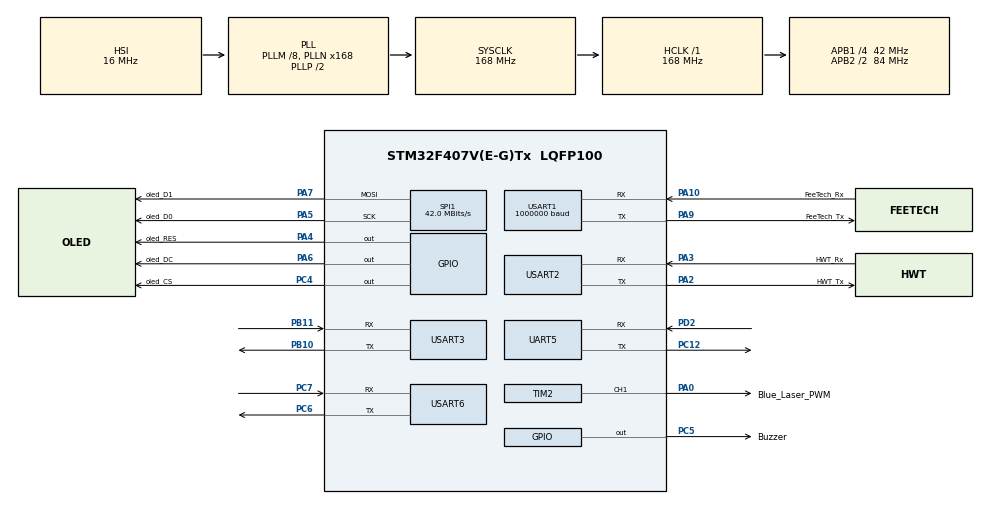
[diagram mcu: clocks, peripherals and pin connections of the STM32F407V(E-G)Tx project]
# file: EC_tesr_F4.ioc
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Mcu.Family=STM32F4
Mcu.Name=STM32F407V(E-G)Tx
Mcu.Package=LQFP100
NVIC.PriorityGroup=NVIC_PRIORITYGROUP_4
NVIC.TIM2_IRQn=true\:0\:0\:false\:false\:true\:true\:true\:true
NVIC.TIM3_IRQn=true\:0\:0\:false\:false\:true\:true\:true\:true
NVIC.USART1_IRQn=true\:0\:0\:false\:false\:true\:true\:true\:true
NVIC.USART2_IRQn=true\:0\:0\:false\:false\:true\:true\:true\:true
NVIC.USART3_IRQn=true\:0\:0\:false\:false\:true\:true\:true\:true
PA0-WKUP.GPIO_Label=Blue_Laser_PWM
PA0-WKUP.Signal=S_TIM2_CH1_ETR
PA10.GPIO_Label=FeeTech_Rx
PA10.Mode=Asynchronous
PA10.Signal=USART1_RX
PA13.Mode=Serial_Wire
PA13.Signal=SYS_JTMS-SWDIO
PA14.Mode=Serial_Wire
PA14.Signal=SYS_JTCK-SWCLK
PA2.GPIO_Label=HWT_Tx
PA2.Mode=Asynchronous
PA2.Signal=USART2_TX
PA3.GPIO_Label=HWT_Rx
PA3.Mode=Asynchronous
PA3.Signal=USART2_RX
PA4.GPIO_Label=oled_RES
PA4.GPIO_PuPd=GPIO_PULLDOWN
PA4.GPIO_Speed=GPIO_SPEED_FREQ_HIGH
PA4.Signal=GPIO_Output
PA5.GPIO_Label=oled_D0
PA5.Mode=TX_Only_Simplex_Unidirect_Master
PA5.Signal=SPI1_SCK
PA6.GPIO_Label=oled_DC
PA6.GPIO_PuPd=GPIO_PULLDOWN
PA6.GPIO_Speed=GPIO_SPEED_FREQ_HIGH
PA6.Signal=GPIO_Output
PA7.GPIO_Label=oled_D1
PA7.Mode=TX_Only_Simplex_Unidirect_Master
PA7.Signal=SPI1_MOSI
PA9.GPIO_Label=FeeTech_Tx
PA9.Mode=Asynchronous
PA9.Signal=USART1_TX
PB10.Mode=Asynchronous
PB10.Signal=USART3_TX
PB11.Mode=Asynchronous
PB11.Signal=USART3_RX
PC12.Mode=Asynchronous
PC12.Signal=UART5_TX
PC4.GPIO_Label=oled_CS
PC4.GPIO_PuPd=GPIO_PULLDOWN
PC4.GPIO_Speed=GPIO_SPEED_FREQ_HIGH
PC4.Signal=GPIO_Output
PC5.GPIO_Label=Buzzer
PC5.GPIO_PuPd=GPIO_PULLUP
PC5.Signal=GPIO_Output
PC6.Mode=Asynchronous
PC6.Signal=USART6_TX
PC7.Mode=Asynchronous
PC7.Signal=USART6_RX
PD2.Mode=Asynchronous
PD2.Signal=UART5_RX
PH0-OSC_IN.Mode=HSE-External-Oscillator
PH0-OSC_IN.Signal=RCC_OSC_IN
PH1-OSC_OUT.Mode=HSE-External-Oscillator
PH1-OSC_OUT.Signal=RCC_OSC_OUT
ProjectManager.HeapSize=0x200
ProjectManager.StackSize=0x400
ProjectManager.TargetToolchain=Makefile
RCC.48MHZClocksFreq_Value=84000000
RCC.AHBFreq_Value=168000000
RCC.APB1CLKDivider=RCC_HCLK_DIV4
RCC.APB1Freq_Value=42000000
RCC.APB1TimFreq_Value=84000000
RCC.APB2CLKDivider=RCC_HCLK_DIV2
RCC.APB2Freq_Value=84000000
RCC.APB2TimFreq_Value=168000000
RCC.CortexFreq_Value=168000000
RCC.HCLKFreq_Value=168000000
RCC.HSE_VALUE=25000000
RCC.HSI_VALUE=16000000
RCC.LSE_VALUE=32768
RCC.PLLM=8
RCC.PLLN=168
RCC.SYSCLKFreq_VALUE=168000000
RCC.SYSCLKSource=RCC_SYSCLKSOURCE_PLLCLK
RCC.VCOOutputFreq_Value=336000000
SH.S_TIM2_CH1_ETR.0=TIM2_CH1,PWM Generation1 CH1
SPI1.CalculateBaudRate=42.0 MBits/s
SPI1.Direction=SPI_DIRECTION_2LINES
SPI1.Mode=SPI_MODE_MASTER
SPI1.VirtualType=VM_MASTER
TIM1.Period=0
TIM1.Prescaler=168-1
TIM2.Channel-PWM\ Generation1\ CH1=TIM_CHANNEL_1
TIM2.Period=999
TIM2.Prescaler=167
TIM3.Period=10000-1
TIM3.Prescaler=167
UART5.VirtualMode=Asynchronous
USART1.BaudRate=1000000
USART1.VirtualMode=VM_ASYNC
USART2.VirtualMode=VM_ASYNC
USART3.VirtualMode=VM_ASYNC
USART6.VirtualMode=VM_ASYNC
VP_TIM1_VS_ClockSourceINT.Mode=Internal
VP_TIM2_VS_ClockSourceINT.Mode=Internal
VP_TIM3_VS_ClockSourceINT.Mode=Internal
board=custom

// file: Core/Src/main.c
/* USER CODE BEGIN Header */
/**
 ******************************************************************************
 * @file           : main.c
 * @brief          : Main program body
 ******************************************************************************
 * @attention
 *
 * Copyright (c) 2025 STMicroelectronics.
 * All rights reserved.
 *
 * This software is licensed under terms that can be found in the LICENSE file
 * in the root directory of this software component.
 * If no LICENSE file comes with this software, it is provided AS-IS.
 *
 ******************************************************************************
 */
/* USER CODE END Header */
#include "main.h"
#include "spi.h"
#include "tim.h"
#include "usart.h"
#include "gpio.h"

/* USER CODE BEGIN Includes */
// #include "HWT101CT_sdk.h"
#include "io_retargetToUart.h"
#include "HWT101CT_sdk.h"
#include "my_uart.h"
#include "wtr_calculate.h"

#include "SCServo.h"
#include "HWT_user.h"
#include "stdio.h"
#include "stdlib.h"
/* USER CODE END Includes */

/* USER CODE BEGIN PD */
#define PITCH 1
#define YAW   2
/* USER CODE END PD */

void SystemClock_Config(void);

/* USER CODE BEGIN 0 */
int16_t spex;
int16_t spey;
uint16_t initial_angle_yaw;
uint16_t initial_angle_pitch;
PID_t pid_x, pid_y;
YawKalman yaw_filter;
/* USER CODE END 0 */

int main(void)
{

  /* MCU Configuration--------------------------------------------------------*/

  /* Reset of all peripherals, Initializes the Flash interface and the Systick. */
  HAL_Init();

  /* Configure the system clock */
  SystemClock_Config();

  /* Initialize all configured peripherals */
  MX_GPIO_Init();
  MX_SPI1_Init();
  MX_TIM1_Init();
  MX_TIM2_Init();
  MX_USART1_UART_Init();
  MX_USART2_UART_Init();
  MX_USART6_UART_Init();
  MX_USART3_UART_Init();
  MX_TIM3_Init();
  MX_UART5_Init();
  /* USER CODE BEGIN 2 */

    //SPI_PIN_Init();
    //OLED_Init();
  __HAL_UART_ENABLE_IT(&huart2, UART_IT_RXNE);
  HAL_UART_Receive_IT(&huart2, &s, 1);

  HW101_Init();
  HAL_UART_Receive_IT(&huart3, rx_buffer, sizeof(rx_buffer));
  HAL_TIM_Base_Start_IT(&htim2);
  HAL_TIM_Base_Start_IT(&htim3);
  HAL_TIM_PWM_Start(&htim2, TIM_CHANNEL_1);
  WheelMode(PITCH, 0);             // 模弝0：佝置模�???????? 模弝1：杒速； 模弝2：pwm调�?�；模弝3：步�????????
  WheelMode(YAW, 0);               // 模弝0：佝置模�???????? 模弝1：杒速； 模弝2：pwm调�?�；模弝3：步�????????
  WriteSpe(PITCH, 0, 0);           // pitch
  WriteSpe(YAW, 0, 0);             // yaw
  pid_init(&pid_x, 5.0, 1.0, 0.3); // yaw - 增加响应速度
  pid_init(&pid_y, 2, 0.0, 0.0);   // pitch
  yaw_kalman_init(&yaw_filter, 135.0f, 0.1f, 10.0f); // 初始yaw, Q, R

  uint8_t no_find_flag = 0; // 标记目标丢失的时�?????
  uint8_t find_flag    = 0; // 标记目标是否被锁定（几乎到达中心�?????
  uint8_t init_flag    = 0; // 标记在目标未找到时是否处于初始化状�??

  // 死区参数
  uint8_t dead_zone_x = 16; // X轴死�?????
  uint8_t dead_zone_y = 6;  // Y轴死�?????
                            // 添加数据滤波变量

  /* USER CODE END 2 */

  /* Infinite loop */
  /* USER CODE BEGIN WHILE */
  while (0) {
      printf("%d,%d\n", rx_data[0], rx_data[1]);
  }
    while (1) {
        // WriteSpe(1, -50, 50); // 正向上，相机向上变大
        // WriteSpe(2, 50, 50); // 正向右，相机向右变小
    /* USER CODE END WHILE */

    /* USER CODE BEGIN 3 */

        /***WitMotion***/
        HAL_Delay(1);
        ProcessData();
        /***WitMotion***/
        RotateWithHWT();
        printf(":%f,%d,%d,%f,%d\n", fAngle[2], FT_target_angle, ReadPos(YAW), debug_kf, current_edge);

        // if (find_flag == 0) // 未锁�?????
        // {
        //     if (rx_data[0] == rx_data[1] && rx_data[1] == 0) { // 丢失目标
        //         if (init_flag == 0) {
        //             no_find_flag++;
        //             if (no_find_flag > 20) {

        //                 WheelMode(YAW, 1);
        //                 WriteSpe(YAW, -300, 100);

        //                 WheelMode(PITCH, 0);
        //                 WritePos(PITCH, 2250, 60, 50); // pitch
        //             }
        //         } else {
        //             // 运动中丢失目标，使用卡尔曼滤波的估计坐标补上

        //         }
        //     } else { // 视野内有目标但尚未追�?????

        //         WheelMode(YAW, 1);
        //         WheelMode(PITCH, 1);
        //         no_find_flag = 0;
        //         //init_flag    = 1; // 设置初始化标志，标志已经找到过，不再处于初始的寻找状态，此后就算丢失也认为是运动中的暂时丢失
        //         // 计算误差
        //         int16_t error_x = rx_data[0] - 302;
        //         int16_t error_y = rx_data[1] - 240;

        //         // 死区控制 - 当误差足够小时停止运�?????
        //         //if (abs(error_x) <= dead_zone_x && abs(error_y) <= dead_zone_y) {
        //         if (abs(error_x) <= dead_zone_x ) {

        //             // 目标在死区内，停止运动并锁定位置
        //             WheelMode(YAW, 0);
        //             // WheelMode(PITCH, 0);
        //             uint16_t pos_yaw = ReadPos(YAW);
        //             // uint16_t pos_pitch = ReadPos(PITCH);
        //             WritePos(YAW, pos_yaw, 60, 50);
        //             // WritePos(PITCH, pos_pitch, 60, 50);
        //             __HAL_TIM_SET_COMPARE(&htim2, TIM_CHANNEL_1, 100); /*降低PWM占空�?????*/
        //             find_flag = 1;
        //             // printf("Target locked at center: error_x=%d, error_y=%d\n", error_x, error_y);
        //         } else {
        //             // 目标不在死区内，使用PID控制
        //             speedServo(302, rx_data[0], &pid_x);
        //             speedServo(240, rx_data[1], &pid_y);
        //             WheelMode(YAW, 1);

        //             // 限制输出速度，避免过�?????
        //             int16_t output_x = (int16_t)pid_x.output;
        //             int16_t output_y = (int16_t)(-1 * pid_y.output);

        //             // 根据误差大小动�?�调整最大�?�度
        //             int16_t max_speed_x = (abs(error_x) > 50) ? 100 : 60; // 远距离快速，近距离慢�?????
        //             int16_t max_speed_y = (abs(error_y) > 30) ? 50 : 30;

        //             // 速度限制
        //             if (output_x > max_speed_x) output_x = max_speed_x;
        //             if (output_x < -max_speed_x) output_x = -max_speed_x;
        //             if (output_y > max_speed_y) output_y = max_speed_y;
        //             if (output_y < -max_speed_y) output_y = -max_speed_y;

        //             WriteSpe(YAW, output_x, 100);
        //             WriteSpe(PITCH, output_y, 50);
        //         }
        //     }
        // }

        // printf("%f,%d,%d,%d\n",
        //        pid_x.output, find_flag, rx_data[0], rx_data[1]);
    }
  /* USER CODE END 3 */
}

void SystemClock_Config(void)
{
  RCC_OscInitTypeDef RCC_OscInitStruct = {0};
  RCC_ClkInitTypeDef RCC_ClkInitStruct = {0};

  /** Configure the main internal regulator output voltage
  */
  __HAL_RCC_PWR_CLK_ENABLE();
  __HAL_PWR_VOLTAGESCALING_CONFIG(PWR_REGULATOR_VOLTAGE_SCALE1);

  /** Initializes the RCC Oscillators according to the specified parameters
  * in the RCC_OscInitTypeDef structure.
  */
  RCC_OscInitStruct.OscillatorType = RCC_OSCILLATORTYPE_HSI;
  RCC_OscInitStruct.HSIState = RCC_HSI_ON;
  RCC_OscInitStruct.HSICalibrationValue = RCC_HSICALIBRATION_DEFAULT;
  RCC_OscInitStruct.PLL.PLLState = RCC_PLL_ON;
  RCC_OscInitStruct.PLL.PLLSource = RCC_PLLSOURCE_HSI;
  RCC_OscInitStruct.PLL.PLLM = 8;
  RCC_OscInitStruct.PLL.PLLN = 168;
  RCC_OscInitStruct.PLL.PLLP = RCC_PLLP_DIV2;
  RCC_OscInitStruct.PLL.PLLQ = 4;
  if (HAL_RCC_OscConfig(&RCC_OscInitStruct) != HAL_OK)
  {
    Error_Handler();
  }

  /** Initializes the CPU, AHB and APB buses clocks
  */
  RCC_ClkInitStruct.ClockType = RCC_CLOCKTYPE_HCLK|RCC_CLOCKTYPE_SYSCLK
                              |RCC_CLOCKTYPE_PCLK1|RCC_CLOCKTYPE_PCLK2;
  RCC_ClkInitStruct.SYSCLKSource = RCC_SYSCLKSOURCE_PLLCLK;
  RCC_ClkInitStruct.AHBCLKDivider = RCC_SYSCLK_DIV1;
  RCC_ClkInitStruct.APB1CLKDivider = RCC_HCLK_DIV4;
  RCC_ClkInitStruct.APB2CLKDivider = RCC_HCLK_DIV2;

  if (HAL_RCC_ClockConfig(&RCC_ClkInitStruct, FLASH_LATENCY_5) != HAL_OK)
  {
    Error_Handler();
  }
}

void Error_Handler(void)
{
    __disable_irq();
    while (1) {
    }
}
